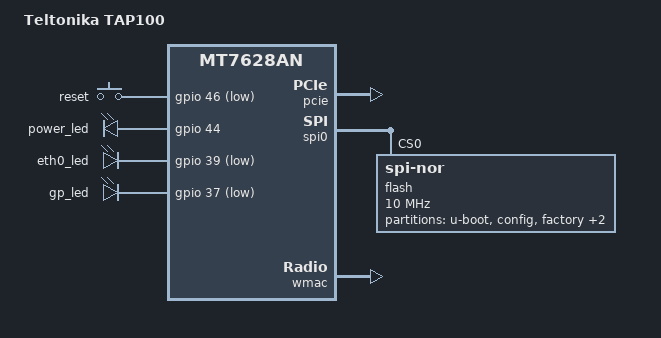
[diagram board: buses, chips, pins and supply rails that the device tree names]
// SPDX-License-Identifier: GPL-2.0-or-later OR MIT
/dts-v1/;

#include <dt-bindings/input/input.h>
#include <dt-bindings/gpio/gpio.h>
#include "mt7628an.dtsi"
#include "platform_name.dtsi"

/ {
	compatible = "teltonika,tap100", "mediatek,mt7628an-soc";
	model = "Teltonika TAP100";

	chosen {
		bootargs = "console=ttyS0,115200";
	};


	keys {
		compatible = "gpio-keys";

		reset {
			label = "reset";
			gpios = <&gpio 46 GPIO_ACTIVE_LOW>;
			linux,code = <KEY_RESTART>;
		};
    };

	leds {
		compatible = "gpio-leds";

		power_led {
			label = "power_led";
			linux,default-trigger = "timer";
			gpios = <&gpio 44 GPIO_ACTIVE_HIGH>;
		};

		eth0_led {
			label = "eth0_led";
			gpios = <&gpio 39 GPIO_ACTIVE_LOW>;
		};

		gp_led {
			label = "gp_led";
			gpios = <&gpio 37 GPIO_ACTIVE_LOW>;
		};
    };
};

&state_default {
	gpio {
		groups = "i2s", "uart1", "p4led_an", "p3led_an", "p2led_an", "p1led_an", "p0led_an", "gpio", "wled_an", "perst";
		function = "gpio";
	};
};

&pcie {
	status = "okay";
};

&pcie0 {
	mt76@0,0 {
		reg = <0x0000 0 0 0 0>;
		mediatek,mtd-eeprom = <&factory 0x28000>;
		ieee80211-freq-limit = <5000000 6000000>;
		mtd-mac-address = <&factory 0xf100>;
		mtd-mac-address-increment = <(-1)>;
	};
};

&spi0 {
	status = "okay";

	flash@0 {
		compatible = "jedec,spi-nor";
		reg = <0>;
		spi-max-frequency = <10000000>;

		partitions {
			compatible = "fixed-partitions";
			#address-cells = <1>;
			#size-cells = <1>;

			partition@0 {
				label = "u-boot";
				reg = <0x0 0x20000>;
				read-only;
			};

			config: partition@20000 {
				label = "config";
				reg = <0x020000 0x010000>;
				read-only;
			};

			factory: partition@30000 {
				label = "factory";
				reg = <0x030000 0x030000>;
				read-only;
			};

			partition@60000 {
				compatible = "denx,uimage";
				label = "firmware";
				reg = <0x060000 0xf10000>;
			};

			partition@f70000 {
				label = "event-log";
				reg = <0xf70000 0x90000>;
			};
		};
	};
};

&wmac {
	status = "okay";
	mtd-mac-address = <&config 0x0>;
	mtd-mac-address-increment = <2>;
	mediatek,mtd-eeprom = <&factory 0x20000>;
};

&ethernet {
	mtd-mac-address = <&config 0x0>;
};
